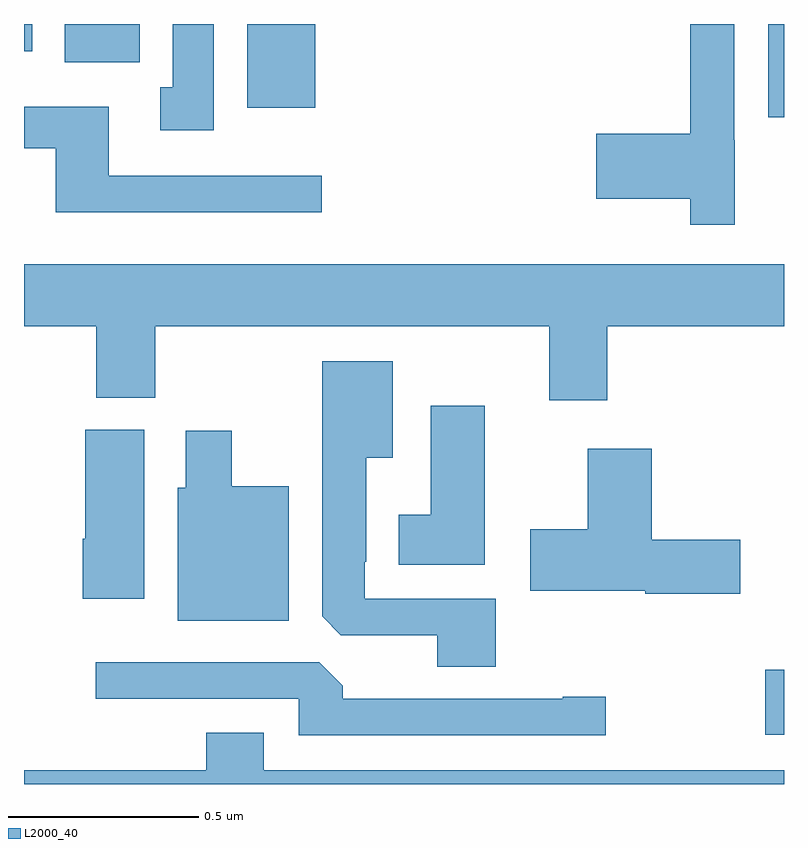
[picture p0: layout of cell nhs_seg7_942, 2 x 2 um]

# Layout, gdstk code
import gdstk
lib = gdstk.Library(unit=1e-6, precision=1e-09)
def R(c, l, rs):  # rectangles x0, y0, x1, y1
    for r in rs: c.add(gdstk.rectangle(r[:2], r[2:], *l))
def P(c, l, *ps):  # polygons
    for p in ps: c.add(gdstk.Polygon(p, *l))
L2000_40 = (2000, 40)

nhs_seg7_942 = lib.new_cell('nhs_seg7_942')
R(nhs_seg7_942, L2000_40, [(124.95,1078.13,125,1078.301), (124.958,1079.755,125,1080), (123.587,1079.78,123.766,1080), (123.107,1079.9,123.304,1080), (123,1079.928,123.022,1080)])
P(nhs_seg7_942, L2000_40, [(124.87,1079.694),(124.869,1079.694),(124.869,1080),(124.753,1080),(124.753,1079.711),(124.506,1079.711),(124.506,1079.54),(124.753,1079.54),(124.753,1079.472),(124.87,1079.472)],
  [(123.499,1080),(123.392,1080),(123.392,1079.834),(123.359,1079.834),(123.359,1079.721),(123.499,1079.721)],
  [(123.784,1079.601),(123.223,1079.601),(123.223,1079.782),(123,1079.782),(123,1079.673),(123.083,1079.673),(123.083,1079.504),(123.784,1079.504)],
  [(124.535,1079.204),(125,1079.204),(125,1079.368),(123,1079.368),(123,1079.204),(123.19,1079.204),(123.19,1079.017),(123.345,1079.017),(123.345,1079.204),(124.382,1079.204),(124.382,1079.01),(124.535,1079.01)],
  [(124.241,1078.488),(123.897,1078.488),(123.897,1078.585),(123.901,1078.585),(123.901,1078.859),(123.97,1078.859),(123.97,1079.113),(123.785,1079.113),(123.785,1078.441),(123.834,1078.392),(124.088,1078.392),(124.088,1078.309),(124.241,1078.309)],
  [(124.213,1078.996),(124.07,1078.996),(124.07,1078.708),(123.986,1078.708),(123.986,1078.577),(124.213,1078.577)],
  [(123.316,1078.932),(123.161,1078.932),(123.161,1078.645),(123.154,1078.645),(123.154,1078.488),(123.316,1078.488)],
  [(123.697,1078.783),(123.547,1078.783),(123.547,1078.93),(123.425,1078.93),(123.425,1078.779),(123.404,1078.779),(123.404,1078.43),(123.697,1078.43)],
  [(124.885,1078.643),(124.652,1078.643),(124.652,1078.882),(124.484,1078.882),(124.484,1078.671),(124.332,1078.671),(124.332,1078.508),(124.635,1078.508),(124.635,1078.501),(124.885,1078.501)],
  [(124.531,1078.229),(124.418,1078.229),(124.418,1078.224),(123.839,1078.224),(123.839,1078.258),(123.777,1078.32),(123.189,1078.32),(123.189,1078.224),(123.723,1078.224),(123.723,1078.128),(124.531,1078.128)],
  [(125,1078.036),(123.631,1078.036),(123.631,1078.135),(123.479,1078.135),(123.479,1078.036),(123,1078.036),(123,1078),(125,1078)])

lib.write_gds('nhs_seg7_942.gds')
